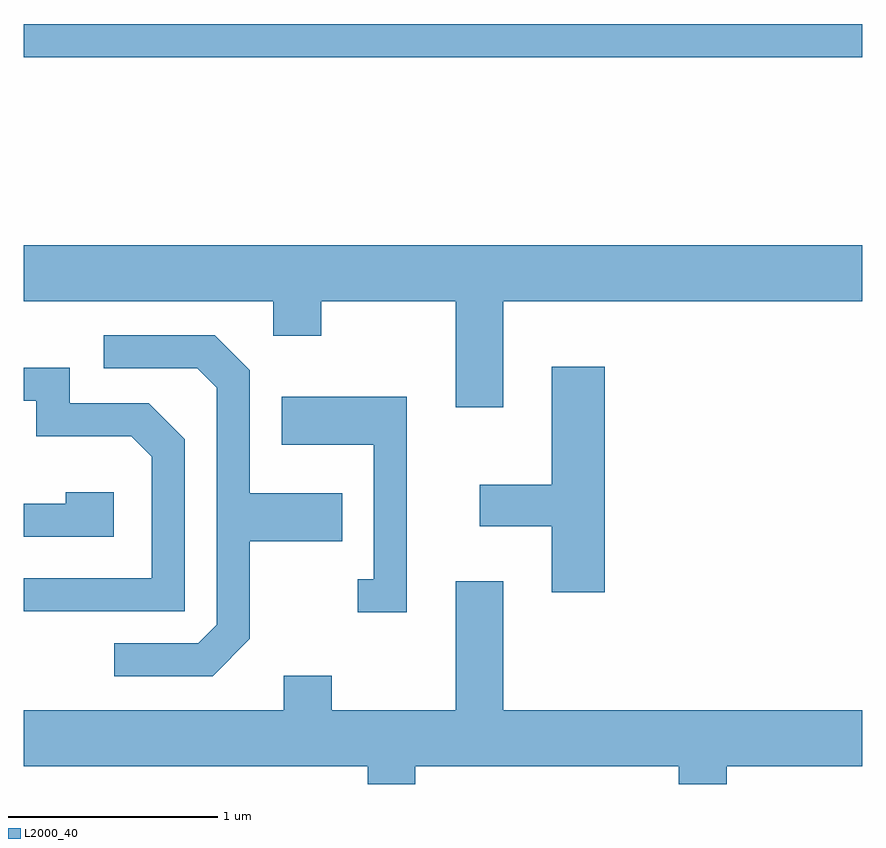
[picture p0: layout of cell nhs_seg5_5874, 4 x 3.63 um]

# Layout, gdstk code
import gdstk
lib = gdstk.Library(unit=1e-6, precision=1e-09)
def R(c, l, rs):  # rectangles x0, y0, x1, y1
    for r in rs: c.add(gdstk.rectangle(r[:2], r[2:], *l))
def P(c, l, *ps):  # polygons
    for p in ps: c.add(gdstk.Polygon(p, *l))
L2000_40 = (2000, 40)

nhs_seg5_5874 = lib.new_cell('nhs_seg5_5874')
R(nhs_seg5_5874, L2000_40, [(359.611,1433.541,363.611,1433.699)])
P(nhs_seg5_5874, L2000_40, [(361.899,1432.376),(363.611,1432.376),(363.611,1432.644),(359.611,1432.644),(359.611,1432.376),(360.801,1432.376),(360.801,1432.211),(361.029,1432.211),(361.029,1432.376),(361.671,1432.376),(361.671,1431.871),(361.899,1431.871)],
  [(360.689,1430.764),(360.689,1431.231),(361.129,1431.231),(361.129,1431.459),(360.689,1431.459),(360.689,1432.047),(360.522,1432.214),(359.993,1432.214),(359.993,1432.056),(360.439,1432.056),(360.531,1431.964),(360.531,1430.832),(360.444,1430.744),(360.043,1430.744),(360.043,1430.586),(360.512,1430.586)],
  [(362.384,1432.064),(362.131,1432.064),(362.131,1431.499),(361.786,1431.499),(361.786,1431.301),(362.131,1431.301),(362.131,1430.986),(362.384,1430.986)],
  [(360.379,1431.717),(360.207,1431.889),(359.829,1431.889),(359.829,1432.059),(359.611,1432.059),(359.611,1431.901),(359.671,1431.901),(359.671,1431.731),(360.124,1431.731),(360.221,1431.634),(360.221,1431.054),(359.611,1431.054),(359.611,1430.896),(360.379,1430.896)],
  [(361.439,1431.919),(360.841,1431.919),(360.841,1431.691),(361.281,1431.691),(361.281,1431.049),(361.203,1431.049),(361.203,1430.891),(361.439,1430.891)],
  [(360.039,1431.464),(359.811,1431.464),(359.811,1431.409),(359.611,1431.409),(359.611,1431.251),(360.039,1431.251)],
  [(361.479,1430.156),(362.736,1430.156),(362.736,1430.072),(362.964,1430.072),(362.964,1430.156),(363.611,1430.156),(363.611,1430.424),(361.899,1430.424),(361.899,1431.039),(361.671,1431.039),(361.671,1430.424),(361.079,1430.424),(361.079,1430.589),(360.851,1430.589),(360.851,1430.424),(359.611,1430.424),(359.611,1430.156),(361.251,1430.156),(361.251,1430.072),(361.479,1430.072)])

lib.write_gds('nhs_seg5_5874.gds')
